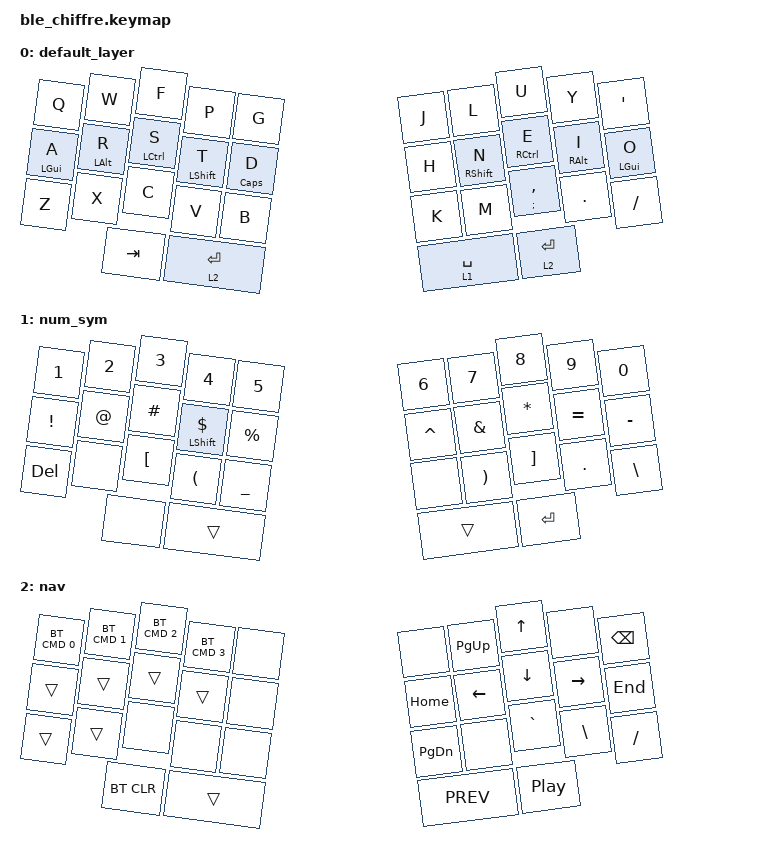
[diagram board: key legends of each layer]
/*
 * Copyright (c) 2020 The ZMK Contributors
 *
 * SPDX-License-Identifier: MIT
 */

#include <behaviors.dtsi>
#include <dt-bindings/zmk/keys.h>
#include <dt-bindings/zmk/bt.h>

#define DEFAULT 0
#define NUM_SYM 1
#define NAV     2

/ {
    behaviors {
        rst: boot_reset {
            compatible = "zmk,behavior-hold-tap";
            display-name = "Bootloader Tap - Reset Hold";
            #binding-cells = <2>;
            tapping-term-ms = <200>;
            flavor = "balanced";
            bindings = <&sys_reset>, <&bootloader>;
        };

        bh: layer_taps {
            compatible = "zmk,behavior-hold-tap";
            display-name = "Layer-Tap";
            #binding-cells = <2>;
            tapping-term-ms = <200>;
            flavor = "tap-preferred";
            bindings = <&mo>, <&kp>;
        };

        hm: homerow_mods0 {
            compatible = "zmk,behavior-hold-tap";
            display-name = "homerow mods";
            #binding-cells = <2>;
            tapping-term-ms = <200>;
            flavor = "tap-preferred";
            bindings = <&kp>, <&kp>;
        };

        hm1: homerow_mods1 {
            compatible = "zmk,behavior-hold-tap";
            display-name = "homerow mods";
            #binding-cells = <2>;
            tapping-term-ms = <205>;
            flavor = "tap-preferred";
            bindings = <&kp>, <&kp>;
        };

        hm2: homerow_mods2 {
            compatible = "zmk,behavior-hold-tap";
            #binding-cells = <2>;
            tapping-term-ms = <250>;
            flavor = "tap-preferred";
            bindings = <&kp>, <&kp>;
        };

        com_col: comma_semicolon {
            compatible = "zmk,behavior-hold-tap";
            #binding-cells = <2>;
            tapping-term-ms = <150>;
            flavor = "balanced";
            bindings = <&kp>, <&kp>;
        };
     };
};

/ {
    combos {
        compatible = "zmk,combos";
        combo_backspce {
            timeout-ms = <50>;
            key-positions = <8 9>;
            bindings = <&kp BSPC>;
        };
        combo_gesc {
            timeout-ms = <30>;
            key-positions = <0 1>;
            bindings = <&com_col GRAVE ESC>;
        };
        combo_tab {
            timeout-ms = <35>;
            key-positions = <11 12>;
            bindings = <&kp TAB>;
        };
        combo_mnxt {
            timeout-ms = <30>;
            key-positions = <28 29>;
            bindings = <&kp C_NEXT>;
        };
        combo_mprev {
            timeout-ms = <30>;
            key-positions = <27 28>;
            bindings = <&kp C_PREV>;
        };
        combo_mpp {
            timeout-ms = <30>;
            key-positions = <27 29>;
            bindings = <&kp C_PP>;
        };
        combo_del {
            timeout-ms = <40>;
            key-positions = <7 8 9>;
            bindings = <&kp DEL>;
        };
    };
};

/ {
    keymap {
        compatible = "zmk,keymap";

        default_layer {
            bindings = <
&kp Q        &kp W       &kp F        &kp P         &kp G          &kp J        &kp L         &kp U                &kp Y       &kp SQT
&hm2 LGUI A  &hm LALT R  &hm LCTRL S  &hm1 LSHFT T  &hm2 CLCK D    &kp H        &hm1 RSHFT N  &hm RCTRL E          &hm RALT I  &hm2 LGUI O
&kp Z        &kp X       &kp C        &kp V         &kp B          &kp K        &kp M         &com_col SEMI COMMA  &kp DOT     &kp FSLH
                                      &kp TAB       &bh 2 RET      &bh 1 SPACE  &bh 2 RET
            >;
        };

        num_sym {
            bindings = <
&kp N1    &kp N2  &kp N3     &kp N4          &kp N5       &kp N6     &kp N7    &kp N8    &kp N9     &kp N0
&kp EXCL  &kp AT  &kp POUND  &hm LSHFT DLLR  &kp PRCNT    &kp CARET  &kp AMPS  &kp STAR  &kp EQUAL  &kp MINUS
&kp DEL   &none   &kp LBKT   &kp LPAR        &kp UNDER    &none      &kp RPAR  &kp RBKT  &kp DOT    &kp BSLH
                             &none           &trans       &trans     &kp RET
            >;
        };

        nav {
            bindings = <
&bt BT_SEL_CMD 0  &bt BT_SEL_CMD 1  &bt BT_SEL_CMD 2  &bt BT_SEL_CMD 3  &none     &none       &kp PG_UP  &kp UP     &none      &kp BSPC
&trans            &trans            &trans            &trans            &none     &kp HOME    &kp LEFT   &kp DOWN   &kp RIGHT  &kp END
&trans            &trans            &none             &none             &none     &kp PG_DN   &none      &kp GRAVE  &kp BSLH   &kp FSLH
                                                      &bt BT_CLR        &trans    &kp C_PREV  &kp C_PP
            >;
        };
    };
};
